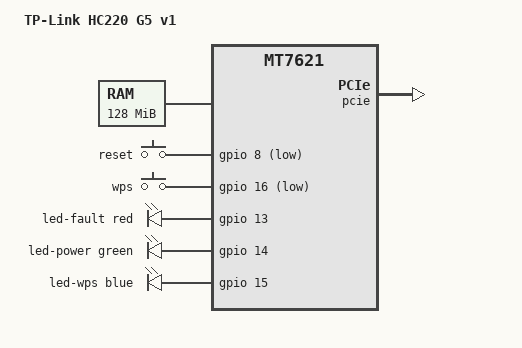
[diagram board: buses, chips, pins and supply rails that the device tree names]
// SPDX-License-Identifier: (GPL-2.0-only OR BSD-2-Clause)
/dts-v1/;

#include "mt7621.dtsi"

#include <dt-bindings/gpio/gpio.h>
#include <dt-bindings/input/input.h>
#include <dt-bindings/leds/common.h>

/ {
	compatible = "tplink,hc220-g5-v1", "mediatek,mt7621-soc";
	model = "TP-Link HC220 G5 v1";

	memory@0 {
		device_type = "memory";
		reg = <0x00000000 0x08000000>;
	};

	chosen {
		bootargs = "earlycon console=ttyS0,115200";
	};

	gpio-keys {
		compatible = "gpio-keys";

		key-reset {
			label = "reset";
			gpios = <&gpio 8 GPIO_ACTIVE_LOW>;
			linux,code = <KEY_RESTART>;
		};

		key-wps {
			label = "wps";
			gpios = <&gpio 16 GPIO_ACTIVE_LOW>;
			linux,code = <KEY_WPS_BUTTON>;
		};
	};

	leds {
		compatible = "gpio-leds";

		led-fault {
			color = <LED_COLOR_ID_RED>;
			function = LED_FUNCTION_FAULT;
			gpios = <&gpio 13 GPIO_ACTIVE_HIGH>;
		};

		led-power {
			color = <LED_COLOR_ID_GREEN>;
			function = LED_FUNCTION_POWER;
			gpios = <&gpio 14 GPIO_ACTIVE_HIGH>;
			linux,default-trigger = "default-on";
		};

		led-wps {
			color = <LED_COLOR_ID_BLUE>;
			function = LED_FUNCTION_WPS;
			gpios = <&gpio 15 GPIO_ACTIVE_HIGH>;
		};
	};
};

&pcie {
	status = "okay";
};

&switch0 {
	ports {
		port@0 {
			status = "okay";
			label = "lan2";
		};

		port@1 {
			status = "okay";
			label = "lan1";
		};

		port@2 {
			status = "okay";
			label = "wan";
		};
	};
};
